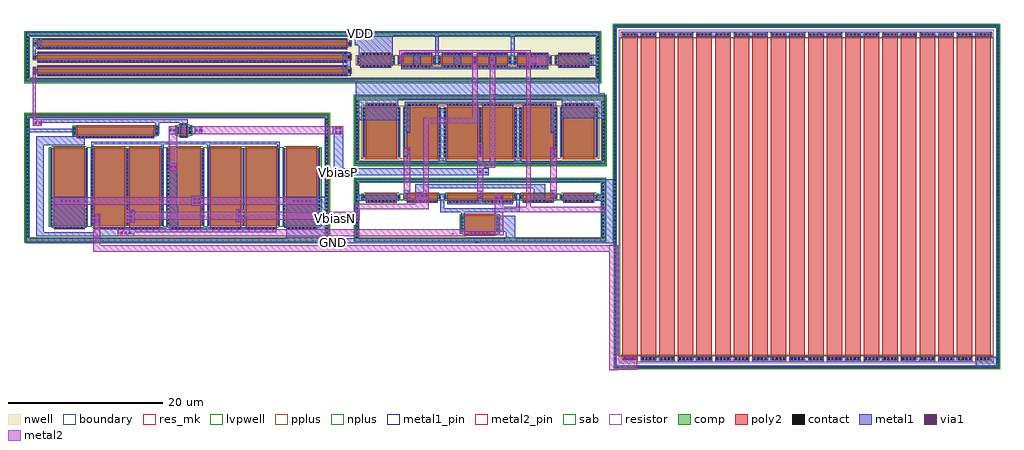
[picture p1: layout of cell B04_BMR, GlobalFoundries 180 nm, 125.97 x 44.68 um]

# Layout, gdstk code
import gdstk
lib = gdstk.Library(unit=1e-6, precision=1e-09)
def R(c, l, rs):  # rectangles x0, y0, x1, y1
    for r in rs: c.add(gdstk.rectangle(r[:2], r[2:], *l))
def A(c, l, x, y, w, h, nx, ny, dx, dy):  # array of equal rectangles
    R(c, l, [(x+i*dx, y+j*dy, x+i*dx+w, y+j*dy+h) for i in range(nx) for j in range(ny)])
boundary = (0, 0)
nwell = (21, 0)
comp = (22, 0)
poly2 = (30, 0)
pplus = (31, 0)
nplus = (32, 0)
contact = (33, 0)
metal1 = (34, 0)
metal1_pin = (34, 10)
via1 = (35, 0)
metal2 = (36, 0)
metal2_pin = (36, 10)
sab = (49, 0)
resistor = (62, 0)
res_mk = (110, 5)
lvpwell = (204, 0)

ppolyf_u_1k_2q22ha = lib.new_cell('ppolyf_u_1k_2Q22HA')
R(ppolyf_u_1k_2q22ha, boundary, [(-24.68,-21.99,24.68,21.99)])
R(ppolyf_u_1k_2q22ha, comp, [(-24.86,-22.17,24.86,-21.81), (-24.86,-21.81,-24.5,21.81), (24.5,-21.81,24.86,21.81), (-24.86,21.81,24.86,22.17)])
A(ppolyf_u_1k_2q22ha, poly2, -23.8, -21.11, 2, 42.22, 20, 1, 2.4, 0)
R(ppolyf_u_1k_2q22ha, pplus, [(-24.88,-22.19,24.88,-21.79), (-24.88,-21.79,-24.47,-21.685), (24.47,-21.79,24.88,-21.685), (-24.89,-21.685,-24.47,21.685), (24.47,-21.685,24.89,21.685), (-24,-21.31,24,-20.5), (-24,20.5,24,21.31), (-24.88,21.685,-24.47,21.79), (24.47,21.685,24.88,21.79), (-24.88,21.79,24.88,22.19)])
A(ppolyf_u_1k_2q22ha, contact, -24.79, -21.495, 0.22, 0.22, 1, 92, 0, 0.47)
A(ppolyf_u_1k_2q22ha, contact, 24.57, -21.495, 0.22, 0.22, 1, 92, 0, 0.47)
A(ppolyf_u_1k_2q22ha, contact, -23.615, -21.04, 0.22, 0.22, 4, 2, 0.47, 41.86)
A(ppolyf_u_1k_2q22ha, contact, -21.215, -21.04, 0.22, 0.22, 4, 2, 0.47, 41.86)
A(ppolyf_u_1k_2q22ha, contact, -18.815, -21.04, 0.22, 0.22, 4, 2, 0.47, 41.86)
A(ppolyf_u_1k_2q22ha, contact, -16.415, -21.04, 0.22, 0.22, 4, 2, 0.47, 41.86)
A(ppolyf_u_1k_2q22ha, contact, -14.015, -21.04, 0.22, 0.22, 4, 2, 0.47, 41.86)
A(ppolyf_u_1k_2q22ha, contact, -11.615, -21.04, 0.22, 0.22, 4, 2, 0.47, 41.86)
A(ppolyf_u_1k_2q22ha, contact, -9.215, -21.04, 0.22, 0.22, 4, 2, 0.47, 41.86)
A(ppolyf_u_1k_2q22ha, contact, -6.815, -21.04, 0.22, 0.22, 4, 2, 0.47, 41.86)
A(ppolyf_u_1k_2q22ha, contact, -4.415, -21.04, 0.22, 0.22, 4, 2, 0.47, 41.86)
A(ppolyf_u_1k_2q22ha, contact, -2.015, -21.04, 0.22, 0.22, 4, 2, 0.47, 41.86)
A(ppolyf_u_1k_2q22ha, contact, 0.385, -21.04, 0.22, 0.22, 4, 2, 0.47, 41.86)
A(ppolyf_u_1k_2q22ha, contact, 2.785, -21.04, 0.22, 0.22, 4, 2, 0.47, 41.86)
A(ppolyf_u_1k_2q22ha, contact, 5.185, -21.04, 0.22, 0.22, 4, 2, 0.47, 41.86)
A(ppolyf_u_1k_2q22ha, contact, 7.585, -21.04, 0.22, 0.22, 4, 2, 0.47, 41.86)
A(ppolyf_u_1k_2q22ha, contact, 9.985, -21.04, 0.22, 0.22, 4, 2, 0.47, 41.86)
A(ppolyf_u_1k_2q22ha, contact, 12.385, -21.04, 0.22, 0.22, 4, 2, 0.47, 41.86)
A(ppolyf_u_1k_2q22ha, contact, 14.785, -21.04, 0.22, 0.22, 4, 2, 0.47, 41.86)
A(ppolyf_u_1k_2q22ha, contact, 17.185, -21.04, 0.22, 0.22, 4, 2, 0.47, 41.86)
A(ppolyf_u_1k_2q22ha, contact, 19.585, -21.04, 0.22, 0.22, 4, 2, 0.47, 41.86)
A(ppolyf_u_1k_2q22ha, contact, 21.985, -21.04, 0.22, 0.22, 4, 2, 0.47, 41.86)
A(ppolyf_u_1k_2q22ha, metal1, -23.79, -21.045, 1.98, 0.23, 20, 2, 2.4, 41.86)
R(ppolyf_u_1k_2q22ha, metal1, [(-24.795,-22.105,24.795,-21.875), (-24.795,-21.875,-24.565,21.875), (24.565,-21.875,24.795,21.875), (-24.795,21.875,24.795,22.105)])
R(ppolyf_u_1k_2q22ha, sab, [(-24.08,-20.6,24.08,20.6), (-24.08,-20.5,24.08,20.5)])
R(ppolyf_u_1k_2q22ha, resistor, [(-24.2,-21.51,24.2,21.51)])
A(ppolyf_u_1k_2q22ha, res_mk, -23.8, -20.5, 2, 41, 20, 1, 2.4, 0)
R(ppolyf_u_1k_2q22ha, res_mk, [(-24.08,-20.5,24.08,20.5)])
R(ppolyf_u_1k_2q22ha, lvpwell, [(-24.98,-22.29,24.98,22.29)])

pfet_03v3_lepl4x = lib.new_cell('pfet_03v3_LEPL4X')
R(pfet_03v3_lepl4x, nwell, [(-20.87,-1.14,20.87,1.14)])
R(pfet_03v3_lepl4x, comp, [(-20.44,-0.25,20.44,0.25)])
R(pfet_03v3_lepl4x, poly2, [(-20,-0.71,20,0.71)])
R(pfet_03v3_lepl4x, pplus, [(-20.23,-0.48,20.23,-0.41), (-20.6,-0.41,20.6,0.41), (-20.23,0.41,20.23,0.48)])
A(pfet_03v3_lepl4x, contact, -19.85, -0.64, 0.22, 0.22, 85, 2, 0.47, 1.06)
R(pfet_03v3_lepl4x, contact, [(-20.37,-0.11,-20.15,0.11), (20.15,-0.11,20.37,0.11)])
R(pfet_03v3_lepl4x, metal1, [(-19.99,-0.645,19.99,-0.415), (-20.375,-0.24,-20.145,0.24), (20.145,-0.24,20.375,0.24), (-19.99,0.415,19.99,0.645)])

nfet_03v3_d2lttm = lib.new_cell('nfet_03v3_D2LTTM')
R(nfet_03v3_d2lttm, comp, [(-4.7,-4.88,4.7,5.12)])
R(nfet_03v3_d2lttm, poly2, [(-4.26,-5.34,-0.26,5.34), (0.26,-5.34,4.26,5.34)])
R(nfet_03v3_d2lttm, nplus, [(-4.49,-5.11,4.49,-5.04), (-4.86,-5.04,4.86,5.28), (-4.49,5.28,4.49,5.35)])
A(nfet_03v3_d2lttm, contact, -4.015, -5.27, 0.22, 0.22, 8, 1, 0.47, 0)
A(nfet_03v3_d2lttm, contact, 0.505, -5.27, 0.22, 0.22, 8, 1, 0.47, 0)
A(nfet_03v3_d2lttm, contact, -4.63, -4.69, 0.22, 0.22, 3, 21, 4.52, 0.47)
A(nfet_03v3_d2lttm, metal1, -4.635, -4.87, 0.23, 9.98, 3, 1, 4.52, 0)
R(nfet_03v3_d2lttm, metal1, [(-4.25,-5.275,-0.27,-5.045), (0.27,-5.275,4.25,-5.045)])
R(nfet_03v3_d2lttm, lvpwell, [(-4.82,-5.46,4.82,5.46)])

nfet_03v3_6zw7h2 = lib.new_cell('nfet_03v3_6ZW7H2')
R(nfet_03v3_6zw7h2, comp, [(-2.44,-4.88,2.44,5.12)])
R(nfet_03v3_6zw7h2, poly2, [(-2,-5.34,2,5.34)])
R(nfet_03v3_6zw7h2, nplus, [(-2.23,-5.11,2.23,-5.04), (-2.6,-5.04,2.6,5.28), (-2.23,5.28,2.23,5.35)])
A(nfet_03v3_6zw7h2, contact, -1.755, -5.27, 0.22, 0.22, 8, 1, 0.47, 0)
A(nfet_03v3_6zw7h2, contact, -2.37, -4.69, 0.22, 0.22, 1, 21, 0, 0.47)
A(nfet_03v3_6zw7h2, contact, 2.15, -4.69, 0.22, 0.22, 1, 21, 0, 0.47)
R(nfet_03v3_6zw7h2, metal1, [(-1.99,-5.275,1.99,-5.045), (-2.375,-4.87,-2.145,5.11), (2.145,-4.87,2.375,5.11)])
R(nfet_03v3_6zw7h2, lvpwell, [(-2.56,-5.46,2.56,5.46)])

nfet_03v3_mbu458 = lib.new_cell('nfet_03v3_MBU458')
R(nfet_03v3_mbu458, comp, [(-5.44,-0.38,5.44,0.62)])
R(nfet_03v3_mbu458, poly2, [(-5,-0.84,5,0.84)])
R(nfet_03v3_mbu458, nplus, [(-5.23,-0.61,5.23,-0.54), (-5.6,-0.54,5.6,0.78), (-5.23,0.78,5.23,0.85)])
A(nfet_03v3_mbu458, contact, -4.81, -0.77, 0.22, 0.22, 21, 1, 0.47, 0)
R(nfet_03v3_mbu458, contact, [(-5.37,-0.225,-5.15,-0.005), (5.15,-0.225,5.37,-0.005), (-5.37,0.245,-5.15,0.465), (5.15,0.245,5.37,0.465)])
R(nfet_03v3_mbu458, metal1, [(-4.99,-0.775,4.99,-0.545), (-5.375,-0.37,-5.145,0.61), (5.145,-0.37,5.375,0.61)])
R(nfet_03v3_mbu458, lvpwell, [(-5.56,-0.96,5.56,0.96)])

nfet_03v3_v3bjrc = lib.new_cell('nfet_03v3_V3BJRC')
R(nfet_03v3_v3bjrc, comp, [(-0.94,-0.5,0.94,0.5)])
R(nfet_03v3_v3bjrc, poly2, [(-0.5,-0.96,0.5,0.96)])
R(nfet_03v3_v3bjrc, nplus, [(-0.73,-0.73,0.73,-0.66), (-1.1,-0.66,1.1,0.66), (-0.73,0.66,0.73,0.73)])
R(nfet_03v3_v3bjrc, contact, [(-0.345,-0.89,-0.125,-0.67), (0.125,-0.89,0.345,-0.67), (-0.87,-0.345,-0.65,-0.125), (0.65,-0.345,0.87,-0.125), (-0.87,0.125,-0.65,0.345), (0.65,0.125,0.87,0.345), (-0.345,0.67,-0.125,0.89), (0.125,0.67,0.345,0.89)])
R(nfet_03v3_v3bjrc, metal1, [(-0.49,-0.895,0.49,-0.665), (-0.875,-0.49,-0.645,0.49), (0.645,-0.49,0.875,0.49), (-0.49,0.665,0.49,0.895)])
R(nfet_03v3_v3bjrc, lvpwell, [(-1.06,-1.08,1.06,1.08)])

pfet_03v3_9swkmf = lib.new_cell('pfet_03v3_9SWKMF')
R(pfet_03v3_9swkmf, nwell, [(-5.13,-1.39,5.13,1.39)])
R(pfet_03v3_9swkmf, comp, [(-4.7,-0.5,4.7,0.5)])
R(pfet_03v3_9swkmf, poly2, [(-4.26,-0.96,-0.26,0.96), (0.26,-0.96,4.26,0.96)])
R(pfet_03v3_9swkmf, pplus, [(-4.49,-0.73,4.49,-0.66), (-4.86,-0.66,4.86,0.66), (-4.49,0.66,4.49,0.73)])
A(pfet_03v3_9swkmf, contact, -4.015, -0.89, 0.22, 0.22, 8, 2, 0.47, 1.56)
A(pfet_03v3_9swkmf, contact, 0.505, -0.89, 0.22, 0.22, 8, 2, 0.47, 1.56)
A(pfet_03v3_9swkmf, contact, -4.63, -0.345, 0.22, 0.22, 3, 2, 4.52, 0.47)
A(pfet_03v3_9swkmf, metal1, -4.635, -0.49, 0.23, 0.98, 3, 1, 4.52, 0)
R(pfet_03v3_9swkmf, metal1, [(-4.25,-0.895,-0.27,-0.665), (0.27,-0.895,4.25,-0.665), (-4.25,0.665,-0.27,0.895), (0.27,0.665,4.25,0.895)])

pfet_03v3_j76tdp = lib.new_cell('pfet_03v3_J76TDP')
R(pfet_03v3_j76tdp, nwell, [(-2.87,-1.39,2.87,1.39)])
R(pfet_03v3_j76tdp, comp, [(-2.44,-0.5,2.44,0.5)])
R(pfet_03v3_j76tdp, poly2, [(-2,-0.96,2,0.96)])
R(pfet_03v3_j76tdp, pplus, [(-2.23,-0.73,2.23,-0.66), (-2.6,-0.66,2.6,0.66), (-2.23,0.66,2.23,0.73)])
A(pfet_03v3_j76tdp, contact, -1.755, -0.89, 0.22, 0.22, 8, 2, 0.47, 1.56)
R(pfet_03v3_j76tdp, contact, [(-2.37,-0.345,-2.15,-0.125), (2.15,-0.345,2.37,-0.125), (-2.37,0.125,-2.15,0.345), (2.15,0.125,2.37,0.345)])
R(pfet_03v3_j76tdp, metal1, [(-1.99,-0.895,1.99,-0.665), (-2.375,-0.49,-2.145,0.49), (2.145,-0.49,2.375,0.49), (-1.99,0.665,1.99,0.895)])

pfet_03v3_ynzbkp = lib.new_cell('pfet_03v3_YNZBKP')
R(pfet_03v3_ynzbkp, nwell, [(-2.87,-4.02,2.87,4.02)])
R(pfet_03v3_ynzbkp, comp, [(-2.44,-3.37,2.44,3.13)])
R(pfet_03v3_ynzbkp, poly2, [(-2,-3.59,2,3.59)])
R(pfet_03v3_ynzbkp, pplus, [(-2.23,-3.6,2.23,-3.53), (-2.6,-3.53,2.6,3.29), (-2.23,3.29,2.23,3.36)])
A(pfet_03v3_ynzbkp, contact, -2.37, -3.285, 0.22, 0.22, 1, 14, 0, 0.47)
A(pfet_03v3_ynzbkp, contact, 2.15, -3.285, 0.22, 0.22, 1, 14, 0, 0.47)
A(pfet_03v3_ynzbkp, contact, -1.755, 3.3, 0.22, 0.22, 8, 1, 0.47, 0)
R(pfet_03v3_ynzbkp, metal1, [(-2.375,-3.36,-2.145,3.12), (2.145,-3.36,2.375,3.12), (-1.99,3.295,1.99,3.525)])

pfet_03v3_b79tb6 = lib.new_cell('pfet_03v3_B79TB6')
R(pfet_03v3_b79tb6, nwell, [(-5.13,-4.02,5.13,4.02)])
R(pfet_03v3_b79tb6, comp, [(-4.7,-3.37,4.7,3.13)])
R(pfet_03v3_b79tb6, poly2, [(-4.26,-3.59,-0.26,3.59), (0.26,-3.59,4.26,3.59)])
R(pfet_03v3_b79tb6, pplus, [(-4.49,-3.6,4.49,-3.53), (-4.86,-3.53,4.86,3.29), (-4.49,3.29,4.49,3.36)])
A(pfet_03v3_b79tb6, contact, -4.63, -3.285, 0.22, 0.22, 3, 14, 4.52, 0.47)
A(pfet_03v3_b79tb6, contact, -4.015, 3.3, 0.22, 0.22, 8, 1, 0.47, 0)
A(pfet_03v3_b79tb6, contact, 0.505, 3.3, 0.22, 0.22, 8, 1, 0.47, 0)
A(pfet_03v3_b79tb6, metal1, -4.635, -3.36, 0.23, 6.48, 3, 1, 4.52, 0)
R(pfet_03v3_b79tb6, metal1, [(-4.25,3.295,-0.27,3.525), (0.27,3.295,4.25,3.525)])

nfet_03v3_5wu5c7 = lib.new_cell('nfet_03v3_5WU5C7')
R(nfet_03v3_5wu5c7, comp, [(-4.7,-0.155,4.7,0.395)])
R(nfet_03v3_5wu5c7, poly2, [(-4.26,-0.615,-0.26,0.615), (0.26,-0.615,4.26,0.615)])
R(nfet_03v3_5wu5c7, nplus, [(-4.49,-0.385,4.49,-0.315), (-4.86,-0.315,4.86,0.555), (-4.49,0.555,4.49,0.625)])
A(nfet_03v3_5wu5c7, contact, -4.015, -0.545, 0.22, 0.22, 8, 1, 0.47, 0)
A(nfet_03v3_5wu5c7, contact, 0.505, -0.545, 0.22, 0.22, 8, 1, 0.47, 0)
A(nfet_03v3_5wu5c7, contact, -4.63, 0.01, 0.22, 0.22, 3, 1, 4.52, 0)
A(nfet_03v3_5wu5c7, metal1, -4.635, -0.145, 0.23, 0.53, 3, 1, 4.52, 0)
R(nfet_03v3_5wu5c7, metal1, [(-4.25,-0.55,-0.27,-0.32), (0.27,-0.55,4.25,-0.32)])
R(nfet_03v3_5wu5c7, lvpwell, [(-4.82,-0.735,4.82,0.735)])

nfet_03v3_lprcze = lib.new_cell('nfet_03v3_LPRCZE')
R(nfet_03v3_lprcze, comp, [(-2.44,-0.98,2.44,1.22)])
R(nfet_03v3_lprcze, poly2, [(-2,-1.44,2,1.44)])
R(nfet_03v3_lprcze, nplus, [(-2.23,-1.21,2.23,-1.14), (-2.6,-1.14,2.6,1.38), (-2.23,1.38,2.23,1.45)])
A(nfet_03v3_lprcze, contact, -1.755, -1.37, 0.22, 0.22, 8, 1, 0.47, 0)
A(nfet_03v3_lprcze, contact, -2.37, -0.695, 0.22, 0.22, 1, 4, 0, 0.47)
A(nfet_03v3_lprcze, contact, 2.15, -0.695, 0.22, 0.22, 1, 4, 0, 0.47)
R(nfet_03v3_lprcze, metal1, [(-1.99,-1.375,1.99,-1.145), (-2.375,-0.97,-2.145,1.21), (2.145,-0.97,2.375,1.21)])
R(nfet_03v3_lprcze, lvpwell, [(-2.56,-1.56,2.56,1.56)])

nfet_03v3_lt7u5f = lib.new_cell('nfet_03v3_LT7U5F')
R(nfet_03v3_lt7u5f, comp, [(-2.44,-0.155,2.44,0.395)])
R(nfet_03v3_lt7u5f, poly2, [(-2,-0.615,2,0.615)])
R(nfet_03v3_lt7u5f, nplus, [(-2.23,-0.385,2.23,-0.315), (-2.6,-0.315,2.6,0.555), (-2.23,0.555,2.23,0.625)])
A(nfet_03v3_lt7u5f, contact, -1.755, -0.545, 0.22, 0.22, 8, 1, 0.47, 0)
R(nfet_03v3_lt7u5f, contact, [(-2.37,0.01,-2.15,0.23), (2.15,0.01,2.37,0.23)])
R(nfet_03v3_lt7u5f, metal1, [(-1.99,-0.55,1.99,-0.32), (-2.375,-0.145,-2.145,0.385), (2.145,-0.145,2.375,0.385)])
R(nfet_03v3_lt7u5f, lvpwell, [(-2.56,-0.735,2.56,0.735)])

b04_diff_amp = lib.new_cell('B04_diff_amp')
R(b04_diff_amp, nwell, [(-7.8,-5.85,24.85,3.3)])
R(b04_diff_amp, comp, [(-7.65,-15.6,24.65,-15.1), (-7.65,-15.1,-7.1,-8), (24.1,-15.1,24.65,-8), (-7.65,-8,24.65,-7.5), (-7.65,-5.7,24.7,-5.2), (-7.65,-5.2,-7.1,2.65), (24.15,-5.2,24.7,2.65), (8.25,-4.65,8.45,-4.55), (-7.65,2.65,24.7,3.15)])
R(b04_diff_amp, pplus, [(-7.67,-15.62,24.67,-15.08), (-7.67,-15.08,-7.08,-8.02), (24.08,-15.08,24.67,-8.02), (-7.67,-8.02,24.67,-7.48), (-1.63,-4.91,-1.58,1.91), (3.62,-4.91,3.67,1.91), (13.39,-4.91,13.42,1.91), (18.62,-4.91,18.67,1.91), (8.09,-4.81,8.61,-4.39)])
R(b04_diff_amp, nplus, [(-1.64,-10.28,-1.59,-9.41), (3.61,-10.28,3.66,-9.41), (13.38,-10.28,13.41,-9.41), (18.61,-10.28,18.66,-9.41), (-7.81,-5.86,24.86,-5.18), (-7.81,-5.18,-7.08,2.63), (24.13,-5.18,24.86,2.63), (-7.81,2.63,24.86,3.31)])
A(b04_diff_amp, contact, -7.485, -15.185, 0.22, 0.22, 1, 16, 0, 0.47)
A(b04_diff_amp, contact, 24.265, -15.185, 0.22, 0.22, 1, 16, 0, 0.47)
A(b04_diff_amp, contact, -7.485, -5.145, 0.22, 0.22, 1, 17, 0, 0.47)
A(b04_diff_amp, contact, 24.315, -5.145, 0.22, 0.22, 1, 17, 0, 0.47)
R(b04_diff_amp, metal1, [(-7.55,-15.8,24.55,-15.2), (-7.55,-15.2,-7.2,-10.35), (11.85,-15.2,13.05,-14.35), (24.2,-15.2,24.55,-10.35), (7,-14.8,9.8,-14.25), (10.75,-14.35,13.05,-12.3), (6.1,-14,6.5,-11.8), (3.35,-11.8,13.65,-11.3), (3.35,-11.3,3.9,-10.05), (13.15,-11.3,13.65,-10), (4.3,-10.8,12.75,-10.45), (15.4,-10.45,16.9,-8.75), (0.15,-10.4,1.85,-8.75), (-7.55,-10.35,-2.05,-9.55), (10.4,-10.35,11.5,-9.6), (19.1,-10.35,24.55,-9.6), (-1.35,-10.05,-0.5,-9), (3.15,-10.05,4.1,-9.45), (17.55,-10.05,18.4,-9), (8.15,-10,8.9,-9.05), (12.9,-10,13.85,-9.4), (24.2,-9.6,24.55,-7.9), (-7.55,-9.55,-7.2,-7.9), (0.15,-8.75,16.9,-8.2), (-7.55,-7.9,24.55,-7.6), (8.15,-7.05,9.6,-6.15), (-7.55,-5.6,24.6,-5.3), (-7.55,-5.3,-7.2,0.05), (3.15,-5.3,4.15,-2.85), (12.95,-5.3,13.85,-2.9), (24.25,-5.3,24.6,0.3), (8.15,-4.75,8.9,-2.85), (-1.25,-4.6,-0.5,-3.45), (17.6,-4.6,18.35,-3.45), (13,-2.9,13.8,1.6), (3.25,-2.85,4.05,1.6), (-1.2,-1.55,-0.5,2.1), (17.65,-1.55,18.35,2.1), (-7.55,0.05,-2.05,2.75), (19.05,0.3,24.6,2.75), (-1.2,2.1,18.35,2.45), (-7.55,2.75,24.6,3.55)])
R(b04_diff_amp, metal1_pin, [(7.9,-15.7,8.25,-15.65), (9.15,-6.75,9.4,-6.6), (10.2,3.3,10.75,3.4)])
A(b04_diff_amp, via1, 7.23, -14.68, 0.26, 0.26, 5, 1, 0.52, 0)
A(b04_diff_amp, via1, 0.375, -9.855, 0.26, 0.26, 3, 1, 0.52, 0)
A(b04_diff_amp, via1, -1.055, -9.655, 0.26, 0.26, 3, 1, 9.45, 0)
A(b04_diff_amp, via1, 8.395, -4.45, 0.26, 0.26, 1, 3, 0, 0.52)
R(b04_diff_amp, via1, [(10.56,-10.08,10.82,-9.82), (11.08,-10.08,11.34,-9.82), (8.395,-6.73,8.655,-6.47), (-0.98,-4.415,-0.72,-4.155), (17.87,-4.415,18.13,-4.155), (-0.98,-3.895,-0.72,-3.635), (17.87,-3.895,18.13,-3.635)])
R(b04_diff_amp, metal2, [(4.8,-14.8,9.8,-14.25), (10.4,-11.8,24.75,-11.1), (-7.75,-11.45,1.85,-10.75), (10.4,-11.1,11.5,-9.6), (0.15,-10.75,1.85,-9.25), (-1.35,-10.05,-0.5,-3.45), (17.55,-10.05,18.4,-3.45), (8.15,-10,8.9,-2.85)])
R(b04_diff_amp, metal2_pin, [(4.9,-14.65,5.1,-14.55), (24.6,-11.65,24.65,-11.55), (-7.7,-11.25,-7.65,-11.05)])
R(b04_diff_amp, lvpwell, [(-7.75,-15.8,24.75,-15.75), (-7.8,-15.75,24.8,-7.35)])
b04_diff_amp.add(gdstk.Reference(pfet_03v3_ynzbkp, (16.02,-1.38)))
b04_diff_amp.add(gdstk.Reference(pfet_03v3_ynzbkp, (1.02,-1.38)))
b04_diff_amp.add(gdstk.Reference(pfet_03v3_b79tb6, (8.53,-1.38)))
b04_diff_amp.add(gdstk.Reference(nfet_03v3_5wu5c7, (8.52,-9.965)))
b04_diff_amp.add(gdstk.Reference(nfet_03v3_lprcze, (8.46,-13.44)))
b04_diff_amp.add(gdstk.Reference(nfet_03v3_lt7u5f, (16.01,-9.965)))
b04_diff_amp.add(gdstk.Reference(nfet_03v3_lt7u5f, (1.01,-9.965)))
b04_diff_amp.add(gdstk.Reference(pfet_03v3_ynzbkp, (-4.23,-1.38)))
b04_diff_amp.add(gdstk.Reference(nfet_03v3_lt7u5f, (21.26,-9.965)))
b04_diff_amp.add(gdstk.Reference(nfet_03v3_lt7u5f, (-4.24,-9.965)))
b04_diff_amp.add(gdstk.Reference(pfet_03v3_ynzbkp, (21.27,-1.38)))
b04_diff_amp.add(gdstk.Label('VDD', (10.475,3.35), layer=34, texttype=10))
b04_diff_amp.add(gdstk.Label('GND', (8.075,-15.675), layer=34, texttype=10))
b04_diff_amp.add(gdstk.Label('Vo', (9.275,-6.675), layer=34, texttype=10))
b04_diff_amp.add(gdstk.Label('V+', (-7.675,-11.15), layer=36, texttype=10))
b04_diff_amp.add(gdstk.Label('V-', (24.625,-11.6), layer=36, texttype=10))
b04_diff_amp.add(gdstk.Label('Vbias', (5,-14.6), layer=36, texttype=10))

b04_bmr = lib.new_cell('B04_BMR')
R(b04_bmr, nwell, [(-78.25,45.2,-3.75,51.85)])
R(b04_bmr, comp, [(-78.1,24.75,-38.9,25.25), (-78.1,25.25,-77.55,40.7), (-39.45,25.25,-38.9,40.7), (-78.1,40.7,-38.9,41.2), (-78.1,45.35,-3.9,45.85), (-78.1,45.85,-77.55,51.2), (-4.45,45.85,-3.9,51.2), (-78.1,51.2,-3.9,51.7)])
R(b04_bmr, pplus, [(-78.12,24.73,-38.88,25.27), (-78.12,25.27,-77.53,40.68), (-39.47,25.27,-38.88,40.68), (-78.12,40.68,-38.88,41.22), (-30.23,47.48,-30.18,48.8), (-24.98,47.48,-24.93,48.8), (-15.21,47.48,-15.18,48.8), (-9.98,47.48,-9.93,48.8)])
R(b04_bmr, nplus, [(-69.84,26.62,-69.79,36.94), (-60.07,26.62,-60.04,36.94), (-54.84,26.62,-54.79,36.94), (-45.07,26.62,-45.04,36.94), (-78.26,45.19,-3.74,45.87), (-78.26,45.87,-77.53,51.18), (-4.47,45.87,-3.74,51.18), (-78.26,51.18,-3.74,51.86)])
A(b04_bmr, contact, -77.935, 25.345, 0.22, 0.22, 1, 33, 0, 0.47)
A(b04_bmr, contact, -39.285, 25.345, 0.22, 0.22, 1, 33, 0, 0.47)
A(b04_bmr, contact, -77.935, 45.83, 0.22, 0.22, 1, 12, 0, 0.47)
A(b04_bmr, contact, -4.285, 45.83, 0.22, 0.22, 1, 12, 0, 0.47)
A(b04_bmr, metal1, 1.35, 9.25, 4.4, 0.6, 9, 1, 4.8, 0)
A(b04_bmr, metal1, -1.05, 51.2, 4.4, 0.6, 10, 1, 4.8, 0)
R(b04_bmr, metal1, [(44.5,8.45,46.55,8.5), (44.55,8.6,47.45,9.85), (-1.05,9.45,0.9,9.95), (-78,24.5,-34.4,25.15), (-3.7,24.55,-1.9,32.75), (-78,25.15,-77.65,38.85), (-44.4,25.15,-39,26.6), (-76.65,25.45,-64.05,25.95), (-76.65,25.95,-75.7,37.15), (-69.15,25.95,-45.7,26.5), (-59.8,26.5,-58.35,29.25), (-74.65,26.55,-70.25,29.05), (-44.65,26.6,-39,29.1), (-69.4,27.15,-68.4,28.3), (-65.05,27.15,-63.95,28.85), (-50.9,27.2,-49.8,28.9), (-74.65,29.05,-70.15,30.5), (-44.7,29.1,-39,30.55), (-59.7,29.25,-59.65,35), (-59.6,29.25,-58.5,34.9), (-56.65,29.35,-55.1,30.65), (-39.35,30.55,-39,40.8), (-38.25,33.3,-19.3,34.2), (-38.25,34.2,-37.05,38.6), (-69.6,36.7,-69.3,37.3), (-60.55,36.7,-60.25,37.3), (-54.6,36.7,-54.3,37.3), (-45.55,36.7,-45.25,37.3), (-76.65,37.15,-70.45,38.3), (-69.6,37.3,-45.25,37.6), (-57.95,38.25,-57.3,38.35), (-58,38.35,-57.25,39.75), (-59.6,38.6,-58.5,39.6), (-56.8,38.6,-55.25,39.6), (-38.4,38.6,-37.05,39.6), (-61.3,38.65,-60.8,40.05), (-78,38.85,-71.75,39.3), (-78,39.3,-77.65,40.8), (-77.15,39.7,-75.95,40), (-57.95,39.75,-57.3,39.85), (-58.1,39.9,-57.15,39.95), (-58.15,39.95,-57.15,40.05), (-77.1,40,-75.95,40.05), (-77.1,40.05,-57.15,40.5), (-78,40.8,-39,41.1), (-35.45,43.65,-4,45.45), (-78,45.45,-4,45.75), (-78,45.75,-77.65,51.3), (-4.35,45.75,-4,47.45), (-37.1,46.15,-36.1,49.15), (-77.15,46.25,-76.75,47.3), (-29.55,46.95,-10.6,47.3), (-28.05,47.3,-27.05,48.9), (-22.8,47.35,-21.8,48.95), (-18.3,47.35,-17.3,48.95), (-13.15,47.35,-12.15,48.95), (-35.05,47.45,-30.65,50.05), (-9.5,47.45,-4,48.85), (-25.3,47.7,-24.6,48.65), (-15.55,47.7,-14.85,48.65), (-20.4,47.75,-19.7,48.55), (-29.75,47.8,-29.25,48.5), (-10.9,47.8,-10.4,48.5), (-77.1,48.3,-76.75,49.65), (-25.2,48.65,-24.7,51.3), (-15.45,48.65,-14.95,51.3), (-4.35,48.85,-4,51.3), (-77.1,49.65,-76.05,50.95), (-36.2,50.05,-35.95,51.3), (-35.55,50.05,-30.65,51.3), (-78,51.3,-4,51.85)])
R(b04_bmr, metal1_pin, [(-38.5,24.55,-38.05,24.65), (-37.85,33.55,-37.55,33.8), (-35,51.55,-34.55,51.65)])
A(b04_bmr, via1, -0.725, 9.57, 0.26, 0.26, 3, 1, 0.52, 0)
A(b04_bmr, via1, -65.8, 25.745, 0.26, 0.26, 3, 1, 0.52, 0)
A(b04_bmr, via1, -64.53, 27.35, 0.26, 0.26, 1, 3, 0, 0.52)
A(b04_bmr, via1, -50.58, 27.4, 0.26, 0.26, 1, 3, 0, 0.52)
A(b04_bmr, via1, -73.495, 29.845, 0.26, 0.26, 5, 1, 0.52, 0)
A(b04_bmr, via1, -43.545, 29.845, 0.26, 0.26, 5, 1, 0.52, 0)
R(b04_bmr, via1, [(-69.29,27.335,-69.03,27.595), (-68.77,27.335,-68.51,27.595), (-69.29,27.855,-69.03,28.115), (-68.77,27.855,-68.51,28.115), (-56.34,29.61,-56.08,29.87), (-55.82,29.61,-55.56,29.87), (-56.34,30.13,-56.08,30.39), (-55.82,30.13,-55.56,30.39), (-59.39,34.245,-59.13,34.505), (-58.87,34.245,-58.61,34.505), (-38.115,38.71,-37.855,38.97), (-37.595,38.71,-37.335,38.97), (-59.49,38.995,-59.23,39.255), (-58.97,38.995,-58.71,39.255), (-56.14,38.995,-55.88,39.255), (-55.62,38.995,-55.36,39.255), (-38.115,39.23,-37.855,39.49), (-37.595,39.23,-37.335,39.49), (-76.89,39.92,-76.63,40.18), (-76.37,39.92,-76.11,40.18), (-77.08,46.385,-76.82,46.645), (-77.08,46.905,-76.82,47.165), (-17.93,47.995,-17.67,48.255), (-29.655,48.02,-29.395,48.28), (-20.18,48.02,-19.92,48.28), (-10.755,48.02,-10.495,48.28)])
R(b04_bmr, metal2, [(-2.75,8.15,-1.55,8.2), (-2.75,8.2,0.9,9.95), (-2.75,9.95,-1.55,23.45), (-69.35,23.45,-1.55,24.25), (-69.35,24.25,-68.4,27.15), (-66.15,25.45,-21.3,26.3), (-18.5,25.55,-16.35,26.1), (-17.5,26.1,-16.4,29.15), (-69.55,27.15,-68.4,28.3), (-65.05,27.15,-63.95,27.55), (-50.9,27.2,-49.8,27.55), (-65.05,27.55,-34.95,28.6), (-13.45,28.55,-12.85,47.65), (-65.05,28.6,-63.95,28.85), (-50.9,28.6,-49.8,28.9), (-35.65,28.6,-34.95,29.55), (-56.65,29.35,-55.1,29.5), (-74.4,29.5,-40.45,30.45), (-56.65,30.45,-55.1,30.65), (-26.75,30.8,-26.05,40), (-59.6,33.85,-58.5,39.6), (-19.75,34.25,-17.45,35.1), (-18.15,35.1,-17.45,48.6), (-56.25,38.6,-37.05,39.6), (-77.15,39.7,-75.95,40.5), (-26.75,40,-19.7,40.75), (-77.15,40.5,-76.75,47.3), (-20.4,40.75,-19.7,48.55), (-13.45,47.65,-10.4,48.65), (-29.8,47.8,-29.25,49.1), (-13.45,48.65,-12.85,49.1), (-29.8,49.1,-12.85,49.45)])
R(b04_bmr, metal2_pin, [(-38.2,27.65,-37.85,27.85)])
R(b04_bmr, lvpwell, [(-2.75,8.15,-1.55,24.3), (-78.25,24.6,-38.75,41.35)])
b04_bmr.add(gdstk.Reference(ppolyf_u_1k_2q22ha, (22.73,30.54)))
b04_bmr.add(gdstk.Reference(pfet_03v3_lepl4x, (-56.53,46.79)))
b04_bmr.add(gdstk.Reference(pfet_03v3_lepl4x, (-56.53,48.54)))
b04_bmr.add(gdstk.Reference(nfet_03v3_d2lttm, (-49.93,31.66)))
b04_bmr.add(gdstk.Reference(nfet_03v3_d2lttm, (-64.93,31.66)))
b04_bmr.add(gdstk.Reference(nfet_03v3_6zw7h2, (-57.44,31.66)))
b04_bmr.add(gdstk.Reference(nfet_03v3_mbu458, (-66.44,38.91)))
b04_bmr.add(gdstk.Reference(nfet_03v3_v3bjrc, (-57.64,39.08)))
b04_bmr.add(gdstk.Reference(pfet_03v3_9swkmf, (-20.07,48.14)))
b04_bmr.add(gdstk.Reference(pfet_03v3_j76tdp, (-12.58,48.14)))
b04_bmr.add(gdstk.Reference(pfet_03v3_j76tdp, (-27.58,48.14)))
b04_bmr.add(gdstk.Reference(pfet_03v3_lepl4x, (-56.53,50.29)))
b04_bmr.add(gdstk.Reference(pfet_03v3_j76tdp, (-32.83,48.14)))
b04_bmr.add(gdstk.Reference(nfet_03v3_6zw7h2, (-72.44,31.66)))
b04_bmr.add(gdstk.Reference(nfet_03v3_6zw7h2, (-42.44,31.66)))
b04_bmr.add(gdstk.Reference(pfet_03v3_j76tdp, (-7.33,48.14)))
b04_bmr.add(gdstk.Reference(b04_diff_amp, (-27.9,40.35)))
b04_bmr.add(gdstk.Label('VbiasP', (-37.7,33.675), layer=34, texttype=10))
b04_bmr.add(gdstk.Label('VDD', (-34.775,51.6), layer=34, texttype=10))
b04_bmr.add(gdstk.Label('GND', (-38.275,24.6), layer=34, texttype=10))
b04_bmr.add(gdstk.Label('VbiasN', (-38.025,27.75), layer=36, texttype=10))

lib.write_gds('B04_BMR.gds')
